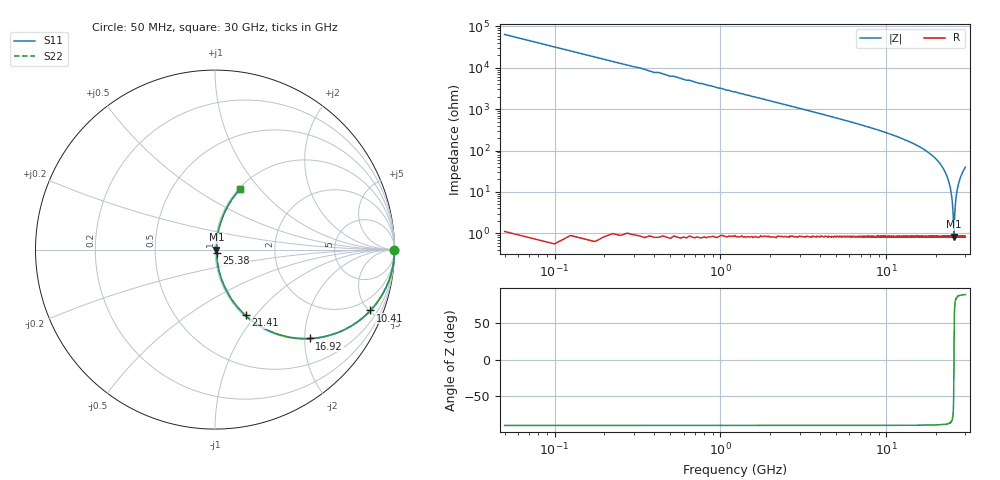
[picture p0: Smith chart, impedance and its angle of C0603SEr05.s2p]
!	AVX Thin Film Operation 	Date: April 2014
!	Description: Accu-P® Series, Thin Film  SMD RF Capacitor
!	Part Number: 06031JR05ZBSTR
# MHZ S MA R 50
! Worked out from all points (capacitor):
!   1201 points, 50 MHz to 30 GHz, reference 50 ohm
!   read as one part in series: C = 50 fF near 199.8 MHz
!   lowest |Z| = 826 mohm at 25.58 GHz (marker M1)
!   series resonance near 25.59 GHz, so ESL is about 770 pH
!   S11 on the Smith chart (normalised r, x): 50 MHz: open; 10.41 GHz: 1.02, -5.10; 16.92 GHz: 1.02, -2.12; 21.41 GHz: 1.02, -0.89; 25.38 GHz: 1.02, -0.04; 30 GHz: 1.02, +0.79
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50  1 -0.1  0.001571 89.9  0.001571 89.9  1 -0.1
274.625  1 -0.5  0.008628 89.5  0.008628 89.5  1 -0.5
449.333  1 -0.8  0.014 89.2  0.014 89.2  1 -0.8
1173.125  0.999 -2.1  0.037 87.9  0.037 87.9  0.999 -2.1
2645.667  0.996 -4.8  0.084 85.2  0.084 85.2  0.996 -4.8
5041.667  0.986 -9.4  0.163 80.6  0.163 80.6  0.986 -9.4
10058.29  0.936 -20.5  0.35 69.4  0.35 69.4  0.936 -20.5
10407.71  0.93 -21.4  0.364 68.4  0.364 68.4  0.93 -21.4
15025  0.809 -35.6  0.583 54.0  0.583 54.0  0.809 -35.6
16921.83  0.724 -43.2  0.684 46.4  0.684 46.4  0.724 -43.2
20016.67  0.522 -57.7  0.846 31.5  0.846 31.5  0.522 -57.7
21414.33  0.404 -65.1  0.907 23.9  0.907 23.9  0.404 -65.1
23785.38  0.178 -77.1  0.976 10.3  0.976 10.3  0.178 -77.1
24534.12  0.104 -79.5  0.986 6.0  0.986 6.0  0.104 -79.5
25033.29  0.055 -78.3  0.99 3.1  0.99 3.1  0.055 -78.3
25382.71  0.022 -66.8  0.992 1.2  0.992 1.2  0.022 -66.8
25582.38  0.008322 -7.3  0.992 0.1  0.992 0.1  0.008322 -7.3
25682.21  0.012 45.5  0.992 -0.5  0.992 -0.5  0.012 45.5
26131.46  0.052 77.9  0.99 -2.9  0.99 -2.9  0.052 77.9
26855.25  0.118 79.3  0.985 -6.8  0.985 -6.8  0.118 79.3
28103.17  0.225 74.9  0.966 -13.0  0.966 -13.0  0.225 74.9
30000  0.366 67.3  0.923 -21.5  0.923 -21.5  0.366 67.3
